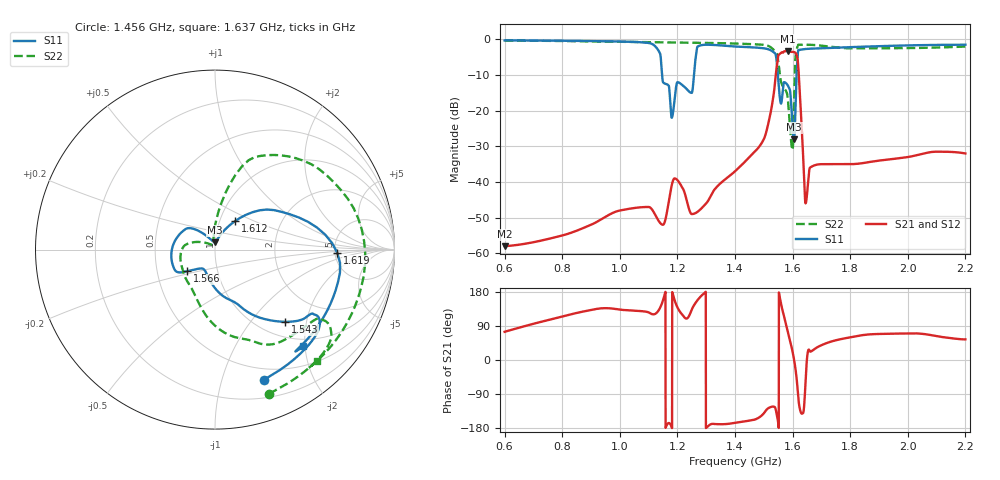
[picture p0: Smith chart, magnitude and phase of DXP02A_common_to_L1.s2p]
! Project 16: GNSS L1 + L2/L5 active antenna front end (RFMW-ANT)
! Generated by Scripts/simulate.py from Scripts/ds_data.py; format GHz / RI, Z0 = 50 ohm
! ESTIMATED from DXP02A.s3p (see its header): port 1 = common (pin 2), port 2 = L1 (pin 7); pin 5 in 50 ohm.
# GHz S RI R 50.0
!freq ReS11 ImS11 ReS21 ImS21 ReS12 ImS12 ReS22 ImS22
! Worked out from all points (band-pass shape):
!   3201 points, 600 MHz to 2.2 GHz, reference 50 ohm
!   highest |S21| = -3.30 dB at 1.585 GHz (marker M1); lowest = -58.0 dB at 600 MHz (marker M2)
!   |S21| within 3 dB of the highest: 1.547 GHz to 1.618 GHz (70.95 MHz wide, 4.48 % of centre)
!   lowest |S11| = -28.0 dB at 1.605 GHz (marker M3), VSWR 1.08, Z = 49.7 + j3.97 ohm
!   |S11| at or under -10 dB: 1.147 GHz to 1.257 GHz (110.6 MHz wide, 9.2 % of centre); 1.549 GHz to 1.614 GHz (64.97 MHz wide, 4.11 % of centre)
!   |S22| runs from -31.0 to -0.3 dB; largest |S21 - S12| = 0
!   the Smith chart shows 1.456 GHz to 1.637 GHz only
!   S11 on the Smith chart (normalised r, x): 1.456 GHz: 0.38, -1.37; 1.543 GHz: 1.29, -1.51; 1.566 GHz: 0.71, -0.18; 1.612 GHz: 1.18, +0.39; 1.619 GHz: 5.26, -0.37; 1.637 GHz: 0.86, -1.96
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0.6  -0.0213 0.9658  0.00034 0.00121  0.00034 0.00121  -0.1817 0.9488
0.867  0.2577 0.9155  -0.00133 0.00176  -0.00133 0.00176  -0.2764 0.9
0.9545  0.2359 0.91  -0.00242 0.00228  -0.00242 0.00228  -0.3208 0.874
0.971  -0.6516 -0.6743  -0.0026 0.00251  -0.0026 0.00251  -0.3328 0.8673
1.1335  -0.3241 -0.6252  -0.00185 0.00224  -0.00185 0.00224  -0.2525 0.8722
1.205  0.0305 0.2463  -0.0067 0.00746  -0.0067 0.00746  0.0161 0.9013
1.284  -0.4579 -0.6923  -0.00422 0.000741  -0.00422 0.000741  -0.2186 0.8672
1.3005  -0.582 -0.6076  -0.00504 -0.000123  -0.00504 -0.000123  0.0217 -0.8921
1.3335  0.1568 -0.8175  -0.0081 -0.00155  -0.0081 -0.00155  -0.887 0.0398
1.4  0.1963 -0.7697  -0.0137 -0.00349  -0.0137 -0.00349  -0.7744 0.4073
1.446  0.2609 -0.7336  -0.0203 -0.0072  -0.0203 -0.0072  -0.6669 0.546
1.4555  0.2724 -0.7259  -0.0221 -0.0083  -0.0221 -0.0083  0.3018 -0.804
1.543  0.3909 -0.4023  -0.2594 -0.252  -0.2594 -0.252  0.4513 -0.4645
1.566  -0.1556 -0.1208  -0.4014 0.5167  -0.4014 0.5167  -0.1737 -0.1349
1.585  -0.2071 0.0736  0.2289 0.6445  0.2289 0.6445  -0.117 0.0416
1.605  -0.000973 0.0398  0.6643 0.0162  0.6643 0.0162  -0.00281 0.1152
1.612  0.1122 0.1592  0.5163 -0.364  0.5163 -0.364  0.37 0.5249
1.619  0.6817 -0.0187  -0.0125 -0.4554  -0.0125 -0.4554  0.837 -0.0229
1.6375  0.4902 -0.5377  -0.0136 -0.0124  -0.0136 -0.0124  0.5668 -0.6218
1.667  -0.3012 0.6788  0.0151 0.00669  0.0151 0.00669  -0.8192 0.1762
1.9335  -0.7586 0.2866  0.00732 0.0194  0.00732 0.0194  -0.47 0.5864
2.2  -0.4389 0.7179  0.0146 0.0205  0.0146 0.0205  -0.3786 0.6983
